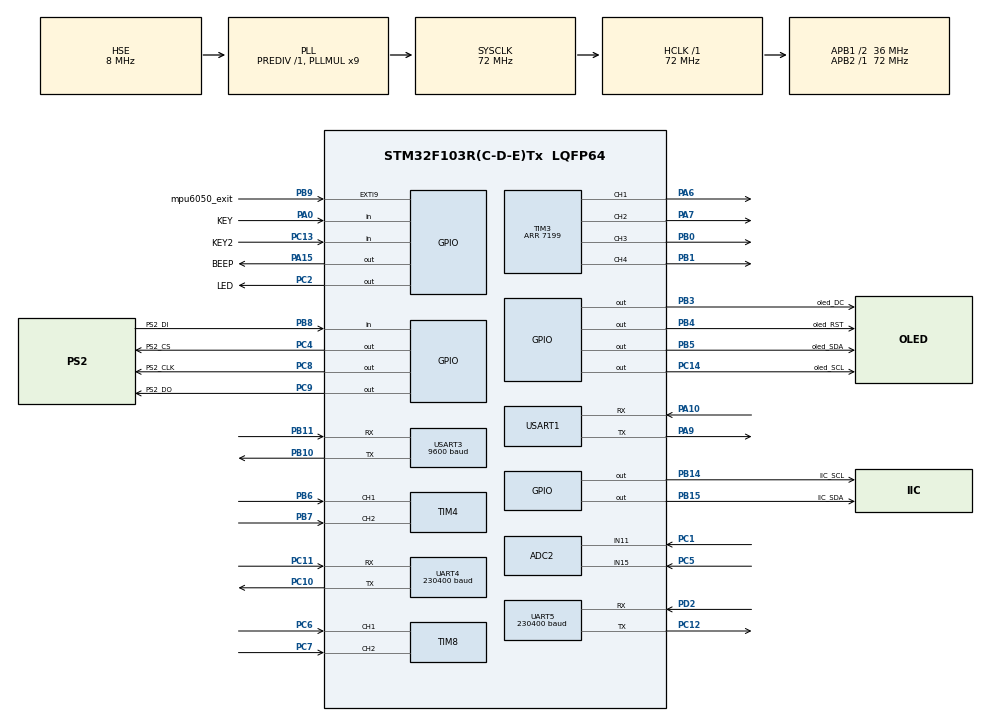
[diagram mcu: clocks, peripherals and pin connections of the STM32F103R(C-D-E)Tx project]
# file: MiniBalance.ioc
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ADC2.ContinuousConvMode=DISABLE
ADC2.EnableRegularConversion=DISABLE
Dma.Request0=UART4_RX
Dma.UART4_RX.0.Direction=DMA_PERIPH_TO_MEMORY
Dma.UART4_RX.0.Instance=DMA2_Channel3
Dma.UART4_RX.0.MemDataAlignment=DMA_MDATAALIGN_BYTE
Dma.UART4_RX.0.MemInc=DMA_MINC_ENABLE
Dma.UART4_RX.0.Mode=DMA_CIRCULAR
Dma.UART4_RX.0.PeriphDataAlignment=DMA_PDATAALIGN_BYTE
Dma.UART4_RX.0.PeriphInc=DMA_PINC_DISABLE
Dma.UART4_RX.0.Priority=DMA_PRIORITY_LOW
Mcu.Family=STM32F1
Mcu.Name=STM32F103R(C-D-E)Tx
Mcu.Package=LQFP64
NVIC.DMA2_Channel3_IRQn=true\:0\:0\:false\:false\:true\:false\:true
NVIC.EXTI9_5_IRQn=true\:2\:1\:true\:false\:true\:true\:true
NVIC.PriorityGroup=NVIC_PRIORITYGROUP_2
NVIC.UART4_IRQn=true\:1\:1\:true\:false\:true\:true\:true
NVIC.UART5_IRQn=true\:1\:1\:true\:false\:true\:true\:true
NVIC.USART3_IRQn=true\:1\:1\:true\:false\:true\:true\:true
PA0-WKUP.GPIO_Label=KEY
PA0-WKUP.GPIO_PuPd=GPIO_NOPULL
PA0-WKUP.Signal=GPIO_Input
PA10.Mode=Asynchronous
PA10.Signal=USART1_RX
PA13.Mode=Serial_Wire
PA13.Signal=SYS_JTMS-SWDIO
PA14.Mode=Serial_Wire
PA14.Signal=SYS_JTCK-SWCLK
PA15.GPIO_Label=BEEP
PA15.GPIO_ModeDefaultOutputPP=GPIO_MODE_OUTPUT_PP
PA15.GPIO_Speed=GPIO_SPEED_FREQ_LOW
PA15.PinState=GPIO_PIN_RESET
PA15.Signal=GPIO_Output
PA6.Signal=S_TIM3_CH1
PA7.Signal=S_TIM3_CH2
PA9.Mode=Asynchronous
PA9.Signal=USART1_TX
PB0.Signal=S_TIM3_CH3
PB1.Signal=S_TIM3_CH4
PB10.Mode=Asynchronous
PB10.Signal=USART3_TX
PB11.Mode=Asynchronous
PB11.Signal=USART3_RX
PB14.GPIO_Label=IIC_SCL
PB14.GPIO_Speed=GPIO_SPEED_FREQ_HIGH
PB14.PinState=GPIO_PIN_SET
PB14.Signal=GPIO_Output
PB15.GPIO_Label=IIC_SDA
PB15.GPIO_Speed=GPIO_SPEED_FREQ_HIGH
PB15.PinState=GPIO_PIN_SET
PB15.Signal=GPIO_Output
PB3.GPIO_Label=oled_DC
PB3.GPIO_Speed=GPIO_SPEED_FREQ_MEDIUM
PB3.Signal=GPIO_Output
PB4.GPIO_Label=oled_RST
PB4.GPIO_Speed=GPIO_SPEED_FREQ_MEDIUM
PB4.Signal=GPIO_Output
PB5.GPIO_Label=oled_SDA
PB5.GPIO_Speed=GPIO_SPEED_FREQ_MEDIUM
PB5.Signal=GPIO_Output
PB6.Signal=S_TIM4_CH1
PB7.Signal=S_TIM4_CH2
PB8.GPIO_Label=PS2_DI
PB8.GPIO_PuPd=GPIO_PULLUP
PB8.Signal=GPIO_Input
PB9.GPIO_Label=mpu6050_exit
PB9.GPIO_ModeDefaultEXTI=GPIO_MODE_IT_FALLING
PB9.GPIO_PuPd=GPIO_PULLUP
PB9.Signal=GPXTI9
PC1.Signal=SharedAnalog_PC1
PC10.Mode=Asynchronous
PC10.Signal=UART4_TX
PC11.Mode=Asynchronous
PC11.Signal=UART4_RX
PC12.Mode=Asynchronous
PC12.Signal=UART5_TX
PC13-TAMPER-RTC.GPIO_Label=KEY2
PC13-TAMPER-RTC.Signal=GPIO_Input
PC14-OSC32_IN.GPIO_Label=oled_SCL
PC14-OSC32_IN.GPIO_Speed=GPIO_SPEED_FREQ_MEDIUM
PC14-OSC32_IN.PinState=GPIO_PIN_RESET
PC14-OSC32_IN.Signal=GPIO_Output
PC2.GPIO_Label=LED
PC2.GPIO_ModeDefaultOutputPP=GPIO_MODE_OUTPUT_PP
PC2.GPIO_Speed=GPIO_SPEED_FREQ_HIGH
PC2.PinState=GPIO_PIN_SET
PC2.Signal=GPIO_Output
PC4.GPIO_Label=PS2_CS
PC4.GPIO_PuPd=GPIO_NOPULL
PC4.GPIO_Speed=GPIO_SPEED_FREQ_HIGH
PC4.Signal=GPIO_Output
PC5.Signal=SharedAnalog_PC5
PC6.Signal=S_TIM8_CH1
PC7.Signal=S_TIM8_CH2
PC8.GPIO_Label=PS2_CLK
PC8.GPIO_Speed=GPIO_SPEED_FREQ_HIGH
PC8.Signal=GPIO_Output
PC9.GPIO_Label=PS2_DO
PC9.GPIO_Speed=GPIO_SPEED_FREQ_HIGH
PC9.Signal=GPIO_Output
PD0-OSC_IN.Mode=HSE-External-Oscillator
PD0-OSC_IN.Signal=RCC_OSC_IN
PD1-OSC_OUT.Mode=HSE-External-Oscillator
PD1-OSC_OUT.Signal=RCC_OSC_OUT
PD2.Mode=Asynchronous
PD2.Signal=UART5_RX
ProjectManager.HeapSize=0x200
ProjectManager.StackSize=0x400
ProjectManager.TargetToolchain=MDK-ARM V5.32
RCC.ADCPresc=RCC_ADCPCLK2_DIV6
RCC.AHBFreq_Value=72000000
RCC.APB1CLKDivider=RCC_HCLK_DIV2
RCC.APB1Freq_Value=36000000
RCC.APB1TimFreq_Value=72000000
RCC.APB2Freq_Value=72000000
RCC.APB2TimFreq_Value=72000000
RCC.HCLKFreq_Value=72000000
RCC.PLLMUL=RCC_PLL_MUL9
RCC.PLLSourceVirtual=RCC_PLLSOURCE_HSE
RCC.SYSCLKFreq_VALUE=72000000
RCC.SYSCLKSource=RCC_SYSCLKSOURCE_PLLCLK
RCC.USBFreq_Value=72000000
SH.S_TIM3_CH1.0=TIM3_CH1,PWM Generation1 CH1
SH.S_TIM3_CH2.0=TIM3_CH2,PWM Generation2 CH2
SH.S_TIM3_CH3.0=TIM3_CH3,PWM Generation3 CH3
SH.S_TIM3_CH4.0=TIM3_CH4,PWM Generation4 CH4
SH.S_TIM4_CH1.0=TIM4_CH1,Encoder_Interface
SH.S_TIM4_CH2.0=TIM4_CH2,Encoder_Interface
SH.S_TIM8_CH1.0=TIM8_CH1,Encoder_Interface
SH.S_TIM8_CH2.0=TIM8_CH2,Encoder_Interface
SH.SharedAnalog_PC1.0=GPIO_Analog
SH.SharedAnalog_PC1.1=ADC2_IN11,IN11
SH.SharedAnalog_PC5.0=GPIO_Analog
SH.SharedAnalog_PC5.1=ADC2_IN15,IN15
TIM3.AutoReloadPreload=TIM_AUTORELOAD_PRELOAD_ENABLE
TIM3.Channel-PWM\ Generation1\ CH1=TIM_CHANNEL_1
TIM3.Channel-PWM\ Generation2\ CH2=TIM_CHANNEL_2
TIM3.Channel-PWM\ Generation3\ CH3=TIM_CHANNEL_3
TIM3.Channel-PWM\ Generation4\ CH4=TIM_CHANNEL_4
TIM3.Period=7199
TIM4.AutoReloadPreload=TIM_AUTORELOAD_PRELOAD_DISABLE
TIM4.EncoderMode=TIM_ENCODERMODE_TI12
TIM4.IC1Filter=10
TIM4.IC2Filter=10
TIM8.EncoderMode=TIM_ENCODERMODE_TI12
TIM8.IC1Filter=10
TIM8.IC2Filter=10
UART4.BaudRate=230400
UART4.VirtualMode=Asynchronous
UART5.BaudRate=230400
UART5.VirtualMode=Asynchronous
USART1.VirtualMode=VM_ASYNC
USART3.BaudRate=9600
USART3.VirtualMode=VM_ASYNC
VP_TIM3_VS_ClockSourceINT.Mode=Internal
board=custom

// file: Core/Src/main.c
/* USER CODE BEGIN Header */
/**
  ******************************************************************************
  * @file           : main.c
  * @brief          : Main program body
  ******************************************************************************
  */
/* USER CODE END Header */

#include "main.h"
#include "adc.h"
#include "dma.h"
#include "tim.h"
#include "usart.h"
#include "gpio.h"
#include "stdbool.h"

/* USER CODE BEGIN Includes */
#include "sys.h"
/* USER CODE END Includes */

/* USER CODE BEGIN PV */
u8 Pick_up_stop=0;
int Middle_angle=0;
u8 Way_Angle=1;
u16 Flag_front,Flag_back,Flag_Left,Flag_Right,Flag_velocity=2,Target_Velocity=30;
float RC_Velocity,RC_Turn_Velocity;
u8 Flag_Stop=1,Flag_Show=0;
u8 PS2_ON_Flag = 0;
u8 Mode = 0;
float Move_X,Move_Z;
u16 determine;
int Encoder_Left,Encoder_Right;
int Motor_Left,Motor_Right;
int Temperature;
int Voltage;
float Angle_Balance,Gyro_Balance,Gyro_Turn;
u32 Distance;
u8 delay_50,PID_Send;
volatile u8 delay_flag;
u8 Flag_follow=0,Flag_avoid=0,Flag_straight=0;
u8 Lidar_Detect = Lidar_Detect_ON;
float Acceleration_Z;
u8 CCD_Zhongzhi,CCD_Yuzhi;
float Balance_Kp=27000,Balance_Kd=110,Velocity_Kp=400,Velocity_Ki=2,Turn_Kp=4200,Turn_Kd=100;
u16 Angle_ADC = 0;
int Avoid_Flag=0;
int Lidar_Online_Flag=0,Lidar_Online_Cnt=0;
volatile int init_cnt=0,APP_ON=0;
volatile int Steady_Flag,time_cnt=0;

volatile bool answer_flag = true;
volatile bool real_data_stream_enabled = true;
/* USER CODE END PV */

void SystemClock_Config(void);

static void RealData_Telemetry_Task(void)
{
#if Control_mode == 0
  static uint32_t telemetry_tick = 0;
  uint32_t now = HAL_GetTick();
  if ((uint32_t)(now - telemetry_tick) >= REAL_DATA_TELEMETRY_PERIOD_MS) {
    telemetry_tick = now;
    APP_Show();
  }
#endif
}

static void BoardUi_Task(void)
{
#if Control_mode == 0
  static uint32_t oled_tick = 0;
  static uint32_t ps2_tick = 0;
  uint32_t now = HAL_GetTick();

  if ((uint32_t)(now - ps2_tick) >= 20U) {
    ps2_tick = now;
    PS2_Read();
  }
  if ((uint32_t)(now - oled_tick) >= 100U) {
    oled_tick = now;
    oled_show();
  }
#endif
}

int main(void)
{
  HAL_Init();
  SystemClock_Config();

  MX_GPIO_Init();
  MX_TIM3_Init();
  MX_USART1_UART_Init();
  MX_USART3_UART_Init();
  MX_TIM8_Init();
  MX_TIM4_Init();
  MX_ADC2_Init();
  MX_DMA_Init();
  MX_UART4_Init();
  MX_UART5_Init();

  /* USER CODE BEGIN 2 */
  JTAG_Set(JTAG_SWD_DISABLE);
  JTAG_Set(SWD_ENABLE);
  delay_init();
  BEEP_GPIO_Config();
  OLED_Init();
  MPU6050_initialize();
  DMP_Init();
  /* USER CODE END 2 */

  while (1)
  {
#if Control_mode == 0
    Flag_Show = 0;
#endif
    if(Flag_Show==0)
    {
#if Control_mode == 0
      RealData_Telemetry_Task();
      BoardUi_Task();
#else
      if (answer_flag) {
        APP_Show();
        answer_flag = false;
      }
      oled_show();
      PS2_Read();
#endif
    }
    else
    {
      DataScope();
    }

    if(Lidar_Deal_Flag){
      Lidar_data_Deal();
      Lidar_Deal_Flag=0;
    }
  }
}

void SystemClock_Config(void)
{
  RCC_OscInitTypeDef RCC_OscInitStruct = {0};
  RCC_ClkInitTypeDef RCC_ClkInitStruct = {0};
  RCC_PeriphCLKInitTypeDef PeriphClkInit = {0};

  RCC_OscInitStruct.OscillatorType = RCC_OSCILLATORTYPE_HSE;
  RCC_OscInitStruct.HSEState = RCC_HSE_ON;
  RCC_OscInitStruct.HSEPredivValue = RCC_HSE_PREDIV_DIV1;
  RCC_OscInitStruct.HSIState = RCC_HSI_ON;
  RCC_OscInitStruct.PLL.PLLState = RCC_PLL_ON;
  RCC_OscInitStruct.PLL.PLLSource = RCC_PLLSOURCE_HSE;
  RCC_OscInitStruct.PLL.PLLMUL = RCC_PLL_MUL9;
  if (HAL_RCC_OscConfig(&RCC_OscInitStruct) != HAL_OK)
  {
    Error_Handler();
  }

  RCC_ClkInitStruct.ClockType = RCC_CLOCKTYPE_HCLK|RCC_CLOCKTYPE_SYSCLK
                              |RCC_CLOCKTYPE_PCLK1|RCC_CLOCKTYPE_PCLK2;
  RCC_ClkInitStruct.SYSCLKSource = RCC_SYSCLKSOURCE_PLLCLK;
  RCC_ClkInitStruct.AHBCLKDivider = RCC_SYSCLK_DIV1;
  RCC_ClkInitStruct.APB1CLKDivider = RCC_HCLK_DIV2;
  RCC_ClkInitStruct.APB2CLKDivider = RCC_HCLK_DIV1;

  if (HAL_RCC_ClockConfig(&RCC_ClkInitStruct, FLASH_LATENCY_2) != HAL_OK)
  {
    Error_Handler();
  }

  PeriphClkInit.PeriphClockSelection = RCC_PERIPHCLK_ADC;
  PeriphClkInit.AdcClockSelection = RCC_ADCPCLK2_DIV6;
  if (HAL_RCCEx_PeriphCLKConfig(&PeriphClkInit) != HAL_OK)
  {
    Error_Handler();
  }
}

void Error_Handler(void)
{
  __disable_irq();
  while (1)
  {
  }
}
